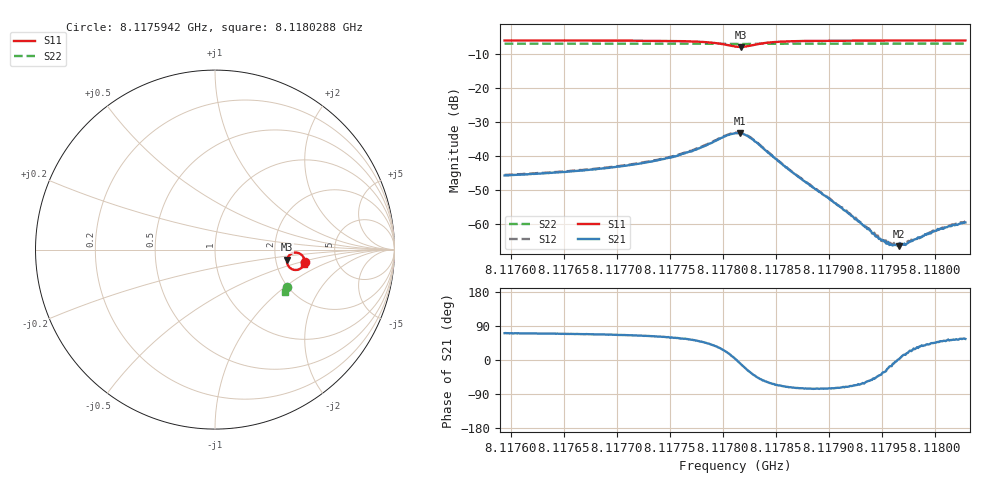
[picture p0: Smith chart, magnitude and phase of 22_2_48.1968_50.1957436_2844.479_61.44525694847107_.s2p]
#  HZ  S  RI  R  50.00
! Rohde & Schwarz Vector Network Analyzer
! Rohde-Schwarz,ZNB20-2Port,1311601062101988,3.16
! Created: UTC 3/20/2024, 11:37:00 AM
! freq[Hz]  re:S11  im:S11  re:S21  im:S21  re:S12  im:S12  re:S22  im:S22
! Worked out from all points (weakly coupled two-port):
!   401 points, 8.1175942 GHz to 8.1180288 GHz, reference 50 ohm
!   highest |S21| = -33.19 dB at 8.1178158 GHz (marker M1); lowest = -66.4 dB at 8.1179658 GHz (marker M2)
!   lowest |S11| = -7.8 dB at 8.1178169 GHz (marker M3), VSWR 2.37, Z = 116 - j15.6 ohm
!   |S11| at or under -10 dB: nowhere
!   |S22| runs from -7.0 to -6.9 dB; largest |S21 - S12| = 0.00062
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8.11759422e9  0.5003 -0.0667  0.00171 0.00494  0.00182 0.005  0.4017 -0.2082
8.11766701e9  0.4978 -0.0765  0.00229 0.00574  0.00237 0.00581  0.3994 -0.2129
8.11770829e9  0.4947 -0.0841  0.003 0.00663  0.00309 0.00672  0.398 -0.2157
8.1177398e9  0.4899 -0.0926  0.00417 0.00779  0.00435 0.00788  0.3968 -0.2179
8.11775501e9  0.4853 -0.098  0.0051 0.00847  0.00538 0.00858  0.396 -0.219
8.11777239e9  0.4758 -0.106  0.00743 0.00969  0.00768 0.00978  0.3948 -0.2201
8.11779738e9  0.4381 -0.1124  0.0155 0.00943  0.0159 0.0094  0.3924 -0.2215
8.1178115e9  0.4034 -0.0804  0.0218 0.00124  0.0222 0.00111  0.391 -0.2205
8.11781585e9  0.4012 -0.0611  0.0217 -0.00291  0.0221 -0.0032  0.3909 -0.2197
8.11781693e9  0.4018 -0.0562  0.0213 -0.00397  0.0217 -0.00436  0.3909 -0.2197
8.11782345e9  0.4153 -0.0306  0.0176 -0.00909  0.0178 -0.0094  0.3916 -0.2191
8.11782997e9  0.4364 -0.018  0.0126 -0.0109  0.0126 -0.0114  0.3926 -0.2193
8.11786039e9  0.4878 -0.0348  0.00223 -0.00645  0.00219 -0.00648  0.3937 -0.2225
8.11788429e9  0.4957 -0.0489  0.000875 -0.00344  0.000862 -0.0035  0.3932 -0.2246
8.11791036e9  0.4983 -0.0584  0.000521 -0.00174  0.000534 -0.00176  0.3923 -0.2264
8.11794513e9  0.4992 -0.0669  0.000466 -0.000462  0.000477 -0.000472  0.391 -0.2289
8.11794948e9  0.4991 -0.0678  0.000459 -0.000366  0.000448 -0.000351  0.391 -0.2293
8.11795708e9  0.4991 -0.069  0.000474 -0.000146  0.000497 -0.000197  0.3908 -0.2298
8.11796577e9  0.4991 -0.0705  0.000477 1.36e-05  0.000497 -1.98e-05  0.3906 -0.2304
8.11797229e9  0.499 -0.0716  0.000482 0.000116  0.000519 0.000113  0.3903 -0.2308
8.11800488e9  0.4989 -0.0765  0.000553 0.00065  0.000573 0.00064  0.3892 -0.2327
8.11802878e9  0.4985 -0.0794  0.000601 0.000877  0.000626 0.000918  0.3883 -0.2345
